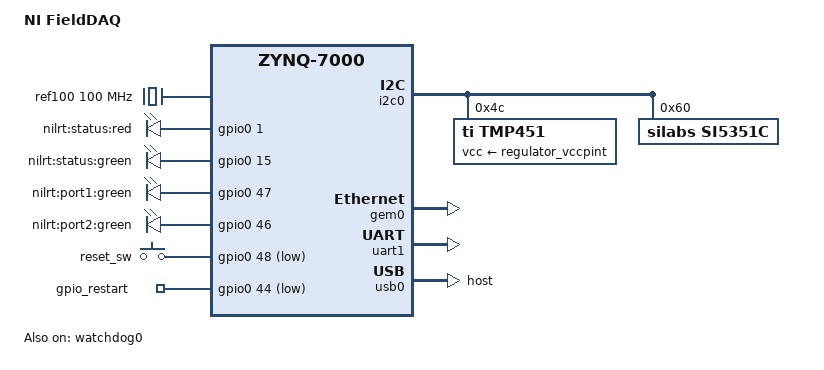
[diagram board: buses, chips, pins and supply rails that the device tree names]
// SPDX-License-Identifier: GPL-2.0 OR MIT
/*
 * Copyright (C) 2016 - 2023 National Instruments
 */

/dts-v1/;
#include <dt-bindings/input/input.h>
#include <dt-bindings/gpio/gpio.h>
#include "zynq-niexpio-2port.dtsi"

/ {
	model = "NI FieldDAQ";
	compatible = "ni,fielddaq", "xlnx,zynq-7000";

	/*
	 * This 100MHz reference clock is actually the output of a Si514;
	 * However, we do not declare it as compatible with silabs,si514
	 * in the device tree because it is steered by userspace, and
	 * therefore we don't want clk-si514.c to attach to it.
	 */
	ref100: oscillator {
		compatible = "fixed-clock";
		#clock-cells = <0>;
		clock-frequency = <100000000>;
	};

	leds {
		compatible = "gpio-leds";

		/* "LED_USER_RED" is on GPIO1 */
		led-0 {
			label = "nilrt:status:red";
			gpios = <&gpio0 1 GPIO_ACTIVE_HIGH>;
			default-state = "on";
		};

		/* "LED_USER_GREEN" is on GPIO15 */
		led-1 {
			label = "nilrt:status:green";
			gpios = <&gpio0 15 GPIO_ACTIVE_HIGH>;
			default-state = "on";
		};

		/* "ZYNQ_LED0_P1" is on GPIO47 */
		led-2 {
			label = "nilrt:port1:green";
			gpios = <&gpio0 47 GPIO_ACTIVE_HIGH>;
			linux,default-trigger = "dsa-0:00:01:link";
		};

		/* "ZYNQ_LED0_P2" is on GPIO46 */
		led-3 {
			label = "nilrt:port2:green";
			gpios = <&gpio0 46 GPIO_ACTIVE_HIGH>;
			linux,default-trigger = "dsa-0:00:02:link";
		};
	};

	gpio_keys {
		compatible = "gpio-keys";

		/* Reset switch is on GPIO48 */
		button-0 {
			label = "reset_sw";
			gpios = <&gpio0 48 GPIO_ACTIVE_LOW>;
			linux,code = <KEY_RESTART>;
		};
	};

	gpio_restart {
		compatible = "gpio-restart";

		/* ~PS_FORCE_RESET is on GPIO44 */
		gpios = <&gpio0 44 GPIO_ACTIVE_LOW>;
		priority = <200>;
	};
};

&i2c0 {
	status = "okay";

	tmp451@4c {
		compatible = "ti,tmp451";
		reg = <0x4c>;
		vcc-supply = <&regulator_vccpint>;
	};

	si5351c: clock-generator@60 {
		compatible = "silabs,si5351c";
		reg = <0x60>;
		#address-cells = <1>;
		#size-cells = <0>;
		#clock-cells = <1>;

		clocks = <&ref100>;
		clock-names = "clkin";

		silabs,pll-source = <0 1>, <1 0>;
		silabs,pll-frequency = <0 737280000>;

		umber-btsi0@0 {
			reg = <0>;
			silabs,drive-strength = <8>;
			silabs,multisynth-source = <0>;
			silabs,clock-source = <0>;
			silabs,disable-state = <0>;
			clock-frequency = <12800000>;
		};

		umber-sysclk@1 {
			reg = <1>;
			silabs,drive-strength = <8>;
			silabs,multisynth-source = <0>;
			silabs,clock-source = <0>;
			silabs,disable-state = <0>;
			clock-frequency = <80000000>;
		};

		umber-btsi1@2 {
			reg = <2>;
			silabs,drive-strength = <8>;
			silabs,multisynth-source = <0>;
			silabs,clock-source = <0>;
			silabs,disable-state = <0>;
			clock-frequency = <13107200>;
		};

		umber-btsi3@4 {
			reg = <4>;
			silabs,drive-strength = <8>;
			silabs,multisynth-source = <0>;
			silabs,clock-source = <0>;
			silabs,disable-state = <0>;
			clock-frequency = <10240000>;
		};

		umber-btsi4@7 {
			reg = <7>;
			silabs,drive-strength = <8>;
			silabs,multisynth-source = <0>;
			silabs,clock-source = <0>;
			silabs,disable-state = <0>;
			clock-frequency = <12288000>;
		};
	};
};

&gem0 {
	status = "okay";
};

&uart1 {
	status = "okay";
};

&usb0 {
	status = "okay";
	dr_mode = "host";
};

&watchdog0 {
	status = "okay";
	reset-on-timeout;
};
